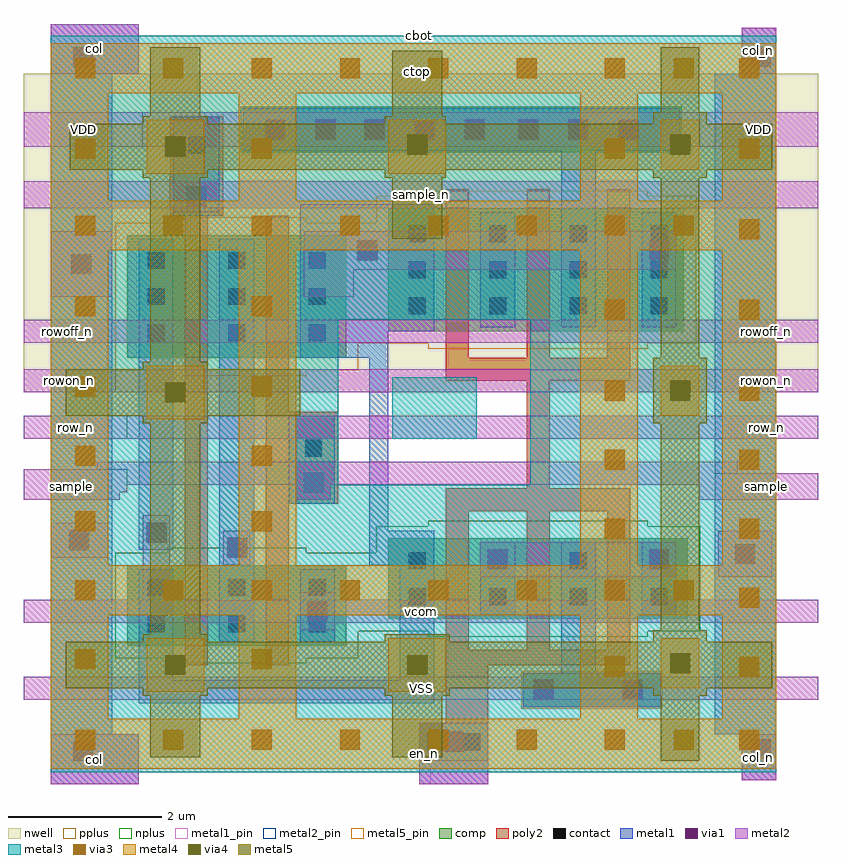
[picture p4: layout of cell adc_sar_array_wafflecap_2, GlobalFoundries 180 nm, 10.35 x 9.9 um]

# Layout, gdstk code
import gdstk
lib = gdstk.Library(unit=1e-6, precision=1e-09)
def R(c, l, rs):  # rectangles x0, y0, x1, y1
    for r in rs: c.add(gdstk.rectangle(r[:2], r[2:], *l))
def A(c, l, x, y, w, h, nx, ny, dx, dy):  # array of equal rectangles
    R(c, l, [(x+i*dx, y+j*dy, x+i*dx+w, y+j*dy+h) for i in range(nx) for j in range(ny)])
nwell = (21, 0)
comp = (22, 0)
poly2 = (30, 0)
pplus = (31, 0)
nplus = (32, 0)
contact = (33, 0)
metal1 = (34, 0)
metal1_pin = (34, 10)
via1 = (35, 0)
metal2 = (36, 0)
metal2_pin = (36, 10)
via3 = (40, 0)
via4 = (41, 0)
metal3 = (42, 0)
metal4 = (46, 0)
metal5 = (81, 0)
metal5_pin = (81, 10)

adc_sar_array_wafflecap_ = lib.new_cell('adc_sar_array_wafflecap_4')
R(adc_sar_array_wafflecap_, nwell, [(-11.85,4.3,-1.5,8.45)])
R(adc_sar_array_wafflecap_, comp, [(-5.35,0.2,-3.55,0.65), (-10.5,1,-7.65,2.05), (-7.1,1.35,-3.2,2.4), (-10.5,4.75,-7.65,6.35), (-7.1,5.1,-3.25,6.7), (-9,7.45,-3.3,8)])
A(adc_sar_array_wafflecap_, poly2, -6.35, 0.95, 0.3, 1.8, 3, 1, 1.05, 0)
A(adc_sar_array_wafflecap_, poly2, -6.35, 4.75, 0.3, 2.2, 3, 1, 1.05, 0)
R(adc_sar_array_wafflecap_, poly2, [(-6.7,-0.5,-5.8,0), (-6.35,0,-5.8,0.75), (-9.75,0.75,-9.45,6.6), (-8.7,0.75,-8.4,2.85), (-6.35,0.75,-3.95,0.95), (-6.35,2.75,-3.95,3.05), (-8.7,2.85,-7.75,4.05), (-5.3,3.05,-5,4.45), (-8.7,4.05,-8.4,6.6), (-6.35,4.45,-3.95,4.75), (-9.95,6.6,-9.25,7.9)])
R(adc_sar_array_wafflecap_, pplus, [(-5.37,0.18,-3.53,0.67), (-9.98,4.52,-8.17,4.59), (-10.66,4.59,-7.49,4.94), (-6.58,4.87,-3.72,4.94), (-10.66,4.94,-3.09,6.51), (-9.98,6.51,-8.17,6.58), (-7.26,6.51,-3.09,6.86), (-6.58,6.86,-3.72,6.93)])
R(adc_sar_array_wafflecap_, nplus, [(-9.98,0.77,-8.17,0.84), (-10.66,0.84,-7.49,1.19), (-6.58,1.12,-3.72,1.19), (-10.66,1.19,-3.04,2.21), (-9.98,2.21,-8.17,2.28), (-7.26,2.21,-3.04,2.56), (-6.58,2.56,-3.72,2.63), (-9.02,7.43,-3.28,8.02)])
A(adc_sar_array_wafflecap_, contact, -10.235, 1.18, 0.22, 0.22, 3, 2, 1.05, 0.47)
A(adc_sar_array_wafflecap_, contact, -6.835, 1.53, 0.22, 0.22, 4, 2, 1.05, 0.47)
A(adc_sar_array_wafflecap_, contact, -10.235, 4.97, 0.22, 0.22, 3, 3, 1.05, 0.47)
A(adc_sar_array_wafflecap_, contact, -6.835, 5.32, 0.22, 0.22, 4, 3, 1.05, 0.47)
A(adc_sar_array_wafflecap_, contact, -8.685, 7.615, 0.22, 0.22, 5, 1, 0.65, 0)
A(adc_sar_array_wafflecap_, contact, -5.385, 7.615, 0.22, 0.22, 3, 1, 0.65, 0)
R(adc_sar_array_wafflecap_, contact, [(-6.595,-0.36,-6.375,-0.14), (-6.125,-0.36,-5.905,-0.14), (-5.185,0.315,-4.965,0.535), (-4.035,0.315,-3.815,0.535), (-8.185,3.465,-7.965,3.685), (-9.71,7.415,-9.49,7.635)])
R(adc_sar_array_wafflecap_, metal1, [(-11.5,-0.8,-10.35,-0.15), (-6.7,-0.8,-5.8,0), (-2.5,-0.75,-2.05,-0.15), (-11.5,-0.15,-10.7,8.45), (-2.85,-0.15,-2.05,8.45), (-5.35,0.2,-3.55,0.65), (-10.35,0.25,-6.5,0.55), (-10.35,0.55,-9.9,2), (-6.95,0.55,-6.5,2.05), (-4.85,0.65,-4.4,2.35), (-9.3,1.05,-8.85,6.3), (-8.25,1.05,-7.8,2), (-5.9,1.4,-5.45,2.35), (-3.8,1.4,-3.35,2.35), (-7.35,2.05,-6.5,2.5), (-10.35,2.25,-9.9,6.3), (-7.35,2.5,-7.1,4.75), (-8.4,2.85,-7.8,4), (-8.25,4.75,-7.1,5.1), (-8.25,5.1,-6.5,6.75), (-5.9,5.15,-5.45,6.65), (-4.85,5.15,-4.4,7.45), (-3.8,5.15,-3.35,6.65), (-9.9,6.6,-9.3,7.9), (-9,7.45,-3.3,8), (-11.5,8.45,-10.35,9.1), (-2.5,8.45,-2.05,9.05)])
R(adc_sar_array_wafflecap_, metal1_pin, [(-6.7,-0.8,-6.55,0), (-2.5,-0.75,-2.05,-0.15), (-2.5,8.45,-2.05,9.05)])
A(adc_sar_array_wafflecap_, via1, -8.705, 7.595, 0.26, 0.26, 5, 1, 0.65, 0)
A(adc_sar_array_wafflecap_, via1, -5.405, 7.595, 0.26, 0.26, 3, 1, 0.65, 0)
R(adc_sar_array_wafflecap_, via1, [(-11.205,-0.505,-10.945,-0.245), (-2.38,-0.48,-2.12,-0.22), (-6.38,-0.38,-6.12,-0.12), (-5.205,0.3,-4.945,0.56), (-4.055,0.3,-3.795,0.56), (-8.155,1.32,-7.895,1.58), (-5.805,1.995,-5.545,2.255), (-3.705,1.995,-3.445,2.255), (-2.58,2.07,-2.32,2.33), (-9.2,2.145,-8.94,2.405), (-11.255,2.245,-10.995,2.505), (-10.25,2.345,-9.99,2.605), (-8.205,2.995,-7.945,3.255), (-11.23,5.845,-10.97,6.105), (-7.505,6.02,-7.245,6.28), (-3.705,6.02,-3.445,6.28), (-9.73,6.72,-9.47,6.98), (-11.205,8.545,-10.945,8.805), (-2.38,8.545,-2.12,8.805)])
R(adc_sar_array_wafflecap_, metal2, [(-11.5,-0.8,-10.35,-0.15), (-6.7,-0.8,-5.8,0), (-2.5,-0.75,-2.05,-0.15), (-5.35,0.2,-3.55,0.3), (-11.85,0.3,-1.5,0.6), (-5.35,0.6,-3.55,0.65), (-8.25,1.2,-7.8,1.3), (-11.85,1.3,-1.5,1.6), (-10.3,1.6,-9.95,2.7), (-8.25,1.6,-7.8,1.7), (-5.9,1.9,-3.35,2.35), (-2.8,1.9,-2.1,2.5), (-9.25,2.05,-8.9,2.5), (-11.5,2.15,-10.75,2.6), (-8.3,2.9,-7.85,3.1), (-2.85,2.95,-1.5,3.1), (-11.85,3,-10.5,3.1), (-11.85,3.1,-1.5,3.25), (-11.85,3.25,-2.55,3.3), (-10.9,3.3,-2.55,3.4), (-11.85,3.7,-1.5,4), (-11.85,4.3,-1.5,4.6), (-11.85,4.95,-1.5,5.25), (-11.5,5.55,-10.7,6.4), (-8.2,5.55,-7.55,5.9), (-8.2,5.9,-3.35,6.4), (-9.9,6.65,-9.3,6.7), (-11.85,6.7,-1.5,7.05), (-11.85,7.5,-1.5,7.95), (-11.5,8.45,-10.35,9.1), (-2.5,8.45,-2.05,9.05)])
R(adc_sar_array_wafflecap_, metal2_pin, [(-11.5,-0.8,-10.35,-0.15), (-11.85,0.3,-1.5,0.6), (-11.85,1.3,-1.5,1.6), (-2.85,2.95,-1.5,3.25), (-11.85,3,-10.5,3.3), (-11.85,3.7,-10.5,4), (-2.85,3.7,-1.5,4), (-11.85,4.3,-10.65,4.6), (-2.85,4.3,-1.5,4.6), (-11.85,4.95,-10.7,5.25), (-2.85,4.95,-1.5,5.25), (-11.85,6.7,-1.5,7.05), (-11.85,7.5,-10.3,7.95), (-3.05,7.5,-1.5,7.95), (-11.5,8.45,-10.35,9.1)])
A(adc_sar_array_wafflecap_, via3, -11.18, -0.355, 0.26, 0.26, 7, 2, 1.15, 1.95)
A(adc_sar_array_wafflecap_, via3, -2.53, 0.595, 0.26, 0.26, 1, 5, 0, 0.9)
A(adc_sar_array_wafflecap_, via3, -4.28, 2.395, 0.26, 0.26, 1, 3, 0, 0.9)
A(adc_sar_array_wafflecap_, via3, -2.53, 5.245, 0.26, 0.26, 1, 4, 0, 1.05)
A(adc_sar_array_wafflecap_, via3, -11.18, 6.345, 0.26, 0.26, 7, 2, 1.15, 2.05)
R(adc_sar_array_wafflecap_, via3, [(-3.38,-0.355,-3.12,-0.095), (-2.53,-0.355,-2.27,-0.095), (-4.28,0.595,-4.02,0.855), (-11.18,0.695,-10.92,0.955), (-8.88,0.695,-8.62,0.955), (-3.38,1.595,-3.12,1.855), (-11.18,2.495,-10.92,2.755), (-8.88,2.495,-8.62,2.755), (-11.18,3.345,-10.92,3.605), (-8.88,3.345,-8.62,3.605), (-11.18,4.245,-10.92,4.505), (-8.88,4.245,-8.62,4.505), (-4.28,5.245,-4.02,5.505), (-11.18,5.295,-10.92,5.555), (-8.88,5.295,-8.62,5.555), (-3.38,6.345,-3.12,6.605), (-11.18,7.345,-10.92,7.605), (-8.88,7.345,-8.62,7.605), (-4.28,7.345,-4.02,7.605), (-3.38,8.395,-3.12,8.655)])
R(adc_sar_array_wafflecap_, via4, [(-10.005,0.62,-9.745,0.88), (-6.855,0.62,-6.595,0.88), (-3.43,0.645,-3.17,0.905), (-10.005,4.17,-9.745,4.43), (-3.43,4.195,-3.17,4.455), (-10.005,7.37,-9.745,7.63), (-6.855,7.395,-6.595,7.655), (-3.43,7.395,-3.17,7.655)])
R(adc_sar_array_wafflecap_, metal3, [(-11.5,-0.65,-2.05,3.1), (-11.5,3.1,-7.75,5.25), (-5.25,3.1,-2.05,5.25), (-7.05,3.7,-5.95,4.5), (-11.5,5.25,-2.05,8.95)])
R(adc_sar_array_wafflecap_, metal4, [(-11.5,-0.6,-2.05,0.05), (-11.5,0.05,-10.75,1.4), (-9.05,0.05,-8.3,1.4), (-4.6,0.05,-3.85,1.4), (-2.75,0.05,-2.05,1.4), (-10.25,0.4,-9.5,1.1), (-7.1,0.4,-6.35,1.1), (-3.55,0.45,-3.05,1.1), (-11.5,1.4,-2.05,2.05), (-11.5,2.05,-10.75,6.15), (-9.05,2.05,-8.3,6.15), (-4.6,2.05,-3.85,6.15), (-2.75,2.05,-2.05,6.15), (-10.25,3.95,-9.5,4.65), (-3.55,4,-3.05,4.65), (-11.5,6.15,-2.05,6.8), (-11.5,6.8,-10.75,8.2), (-9.05,6.8,-8.3,8.2), (-4.6,6.8,-3.85,8.2), (-2.75,6.8,-2.05,8.2), (-10.25,7.15,-9.5,7.85), (-7.1,7.15,-6.35,7.85), (-3.55,7.2,-3.05,7.85), (-11.5,8.2,-2.05,8.85)])
R(adc_sar_array_wafflecap_, metal5, [(-3.55,-0.5,-3.05,0.35), (-10.2,-0.45,-9.55,0.35), (-7.05,-0.45,-6.4,0.35), (-10.3,0.35,-9.45,0.45), (-7.15,0.35,-6.3,0.45), (-3.65,0.35,-2.95,0.45), (-11.3,0.45,-2.1,1.05), (-10.3,1.05,-9.45,1.15), (-7.15,1.05,-6.3,1.15), (-3.65,1.05,-2.95,1.2), (-10.2,1.15,-9.55,3.9), (-3.55,1.2,-3.05,3.9), (-10.3,3.9,-9.45,4), (-3.65,3.9,-2.95,4.75), (-11.3,4,-8.25,4.6), (-10.3,4.6,-9.45,4.7), (-10.2,4.7,-9.55,7.1), (-3.55,4.75,-3.05,7.1), (-7.05,6.3,-6.4,7.1), (-10.3,7.1,-9.45,7.2), (-7.15,7.1,-6.35,7.2), (-3.65,7.1,-2.95,7.2), (-11.25,7.2,-2.1,7.8), (-10.3,7.8,-9.45,7.9), (-7.15,7.8,-6.35,7.9), (-3.65,7.8,-2.95,7.95), (-10.2,7.9,-9.55,8.8), (-7.05,7.9,-6.4,8.75), (-3.55,7.95,-3.05,8.8)])
R(adc_sar_array_wafflecap_, metal5_pin, [(-7.05,8.2,-6.4,8.75)])
adc_sar_array_wafflecap_.add(gdstk.Label('VDD', (-11.075,7.725), layer=36, texttype=10))
adc_sar_array_wafflecap_.add(gdstk.Label('VDD', (-2.275,7.725), layer=36, texttype=10))
adc_sar_array_wafflecap_.add(gdstk.Label('VSS', (-6.675,0.45), layer=36, texttype=10))
adc_sar_array_wafflecap_.add(gdstk.Label('sample_n', (-6.675,6.875), layer=36, texttype=10))
adc_sar_array_wafflecap_.add(gdstk.Label('rowoff_n', (-11.275,5.1), layer=36, texttype=10))
adc_sar_array_wafflecap_.add(gdstk.Label('rowoff_n', (-2.175,5.1), layer=36, texttype=10))
adc_sar_array_wafflecap_.add(gdstk.Label('rowon_n', (-11.25,4.45), layer=36, texttype=10))
adc_sar_array_wafflecap_.add(gdstk.Label('rowon_n', (-2.175,4.45), layer=36, texttype=10))
adc_sar_array_wafflecap_.add(gdstk.Label('row_n', (-11.175,3.85), layer=36, texttype=10))
adc_sar_array_wafflecap_.add(gdstk.Label('row_n', (-2.175,3.85), layer=36, texttype=10))
adc_sar_array_wafflecap_.add(gdstk.Label('vcom', (-6.675,1.45), layer=36, texttype=10))
adc_sar_array_wafflecap_.add(gdstk.Label('en_n', (-6.625,-0.4), layer=34, texttype=10))
adc_sar_array_wafflecap_.add(gdstk.Label('col_n', (-2.275,-0.45), layer=34, texttype=10))
adc_sar_array_wafflecap_.add(gdstk.Label('col_n', (-2.275,8.75), layer=34, texttype=10))
adc_sar_array_wafflecap_.add(gdstk.Label('col', (-10.925,8.775), layer=36, texttype=10))
adc_sar_array_wafflecap_.add(gdstk.Label('col', (-10.925,-0.475), layer=36, texttype=10))
adc_sar_array_wafflecap_.add(gdstk.Label('sample', (-2.175,3.1), layer=36, texttype=10))
adc_sar_array_wafflecap_.add(gdstk.Label('sample', (-11.175,3.15), layer=36, texttype=10))
adc_sar_array_wafflecap_.add(gdstk.Label('ctop', (-6.725,8.475), layer=81, texttype=10))
adc_sar_array_wafflecap_.add(gdstk.Label('cbot', (-6.7,8.95), layer=42, texttype=10))

c_adc_sar_array_wafflecap_ = lib.new_cell('adc_sar_array_wafflecap_2')
R(c_adc_sar_array_wafflecap_, nwell, [(15,5.1,25.35,9.25)])
R(c_adc_sar_array_wafflecap_, comp, [(21.5,1,23.3,1.45), (16.35,1.8,19.2,2.85), (19.75,2.15,23.65,3.2), (16.35,5.55,19.2,7.15), (19.75,5.9,23.6,7.5), (17.85,8.25,23.55,8.8)])
A(c_adc_sar_array_wafflecap_, poly2, 20.5, 1.75, 0.3, 1.8, 3, 1, 1.05, 0)
A(c_adc_sar_array_wafflecap_, poly2, 20.5, 5.55, 0.3, 2.2, 3, 1, 1.05, 0)
R(c_adc_sar_array_wafflecap_, poly2, [(20.15,0.3,21.05,0.8), (20.5,0.8,21.05,1.55), (17.1,1.55,17.4,7.4), (18.15,1.55,18.45,3.65), (20.5,1.55,22.9,1.75), (20.5,3.55,22.9,3.85), (18.15,3.65,19.1,4.85), (21.55,3.85,21.85,5.25), (18.15,4.85,18.45,7.4), (20.5,5.25,22.9,5.55), (16.9,7.4,17.6,8.7)])
R(c_adc_sar_array_wafflecap_, pplus, [(21.48,0.98,23.32,1.47), (16.87,5.32,18.68,5.39), (16.19,5.39,19.36,5.74), (20.27,5.67,23.13,5.74), (16.19,5.74,23.76,7.31), (16.87,7.31,18.68,7.38), (19.59,7.31,23.76,7.66), (20.27,7.66,23.13,7.73)])
R(c_adc_sar_array_wafflecap_, nplus, [(16.87,1.57,18.68,1.64), (16.19,1.64,19.36,1.99), (20.27,1.92,23.13,1.99), (16.19,1.99,23.81,3.01), (16.87,3.01,18.68,3.08), (19.59,3.01,23.81,3.36), (20.27,3.36,23.13,3.43), (17.83,8.23,23.57,8.82)])
A(c_adc_sar_array_wafflecap_, contact, 16.615, 1.98, 0.22, 0.22, 3, 2, 1.05, 0.47)
A(c_adc_sar_array_wafflecap_, contact, 20.015, 2.33, 0.22, 0.22, 4, 2, 1.05, 0.47)
A(c_adc_sar_array_wafflecap_, contact, 16.615, 5.77, 0.22, 0.22, 3, 3, 1.05, 0.47)
A(c_adc_sar_array_wafflecap_, contact, 20.015, 6.12, 0.22, 0.22, 4, 3, 1.05, 0.47)
A(c_adc_sar_array_wafflecap_, contact, 18.165, 8.415, 0.22, 0.22, 5, 1, 0.65, 0)
A(c_adc_sar_array_wafflecap_, contact, 21.465, 8.415, 0.22, 0.22, 3, 1, 0.65, 0)
R(c_adc_sar_array_wafflecap_, contact, [(20.255,0.44,20.475,0.66), (20.725,0.44,20.945,0.66), (21.665,1.115,21.885,1.335), (22.815,1.115,23.035,1.335), (18.665,4.265,18.885,4.485), (17.14,8.215,17.36,8.435)])
R(c_adc_sar_array_wafflecap_, metal1, [(15.35,0,16.5,0.65), (20.15,0,21.05,0.8), (24.35,0.05,24.8,0.65), (15.35,0.65,16.15,9.25), (24,0.65,24.8,9.25), (21.5,1,23.3,1.45), (16.5,1.05,20.35,1.35), (16.5,1.35,16.95,2.8), (19.9,1.35,20.35,2.85), (22,1.45,22.45,3.15), (17.55,1.85,18,7.1), (18.6,1.85,19.05,2.8), (20.95,2.2,21.4,3.15), (23.05,2.2,23.5,3.15), (19.5,2.85,20.35,3.3), (16.5,3.05,16.95,7.1), (19.5,3.3,19.75,5.55), (18.45,3.65,19.05,4.8), (18.6,5.55,19.75,5.9), (18.6,5.9,20.35,7.55), (20.95,5.95,21.4,7.45), (22,5.95,22.45,8.25), (23.05,5.95,23.5,7.45), (16.95,7.4,17.55,8.7), (17.85,8.25,23.55,8.8), (15.35,9.25,16.5,9.9), (24.35,9.25,24.8,9.85)])
R(c_adc_sar_array_wafflecap_, metal1_pin, [(20.15,0,20.3,0.8), (24.35,0.05,24.8,0.65), (24.35,9.25,24.8,9.85)])
A(c_adc_sar_array_wafflecap_, via1, 18.145, 8.395, 0.26, 0.26, 5, 1, 0.65, 0)
A(c_adc_sar_array_wafflecap_, via1, 21.445, 8.395, 0.26, 0.26, 3, 1, 0.65, 0)
R(c_adc_sar_array_wafflecap_, via1, [(15.645,0.295,15.905,0.555), (24.47,0.32,24.73,0.58), (20.47,0.42,20.73,0.68), (21.645,1.1,21.905,1.36), (22.795,1.1,23.055,1.36), (18.695,2.12,18.955,2.38), (21.045,2.795,21.305,3.055), (23.145,2.795,23.405,3.055), (24.27,2.87,24.53,3.13), (17.65,2.945,17.91,3.205), (15.595,3.045,15.855,3.305), (16.6,3.145,16.86,3.405), (18.645,3.795,18.905,4.055), (15.62,6.645,15.88,6.905), (19.345,6.82,19.605,7.08), (23.145,6.82,23.405,7.08), (17.12,7.52,17.38,7.78), (15.645,9.345,15.905,9.605), (24.47,9.345,24.73,9.605)])
R(c_adc_sar_array_wafflecap_, metal2, [(15.35,0,16.5,0.65), (20.15,0,21.05,0.8), (24.35,0.05,24.8,0.65), (21.5,1,23.3,1.1), (15,1.1,25.35,1.4), (21.5,1.4,23.3,1.45), (18.6,2,19.05,2.1), (15,2.1,25.35,2.4), (16.55,2.4,16.9,3.5), (18.6,2.4,19.05,2.5), (20.95,2.7,23.5,3.15), (24.05,2.7,24.75,3.3), (17.6,2.85,17.95,3.3), (15.35,2.95,16.1,3.4), (15,3.7,16.25,3.9), (18.55,3.7,19,3.9), (23.8,3.7,25.35,3.9), (15,3.9,25.35,4.05), (16.15,4.05,24,4.2), (15,4.5,25.35,4.8), (15,5.1,25.35,5.4), (15,5.75,25.35,6.05), (15.35,6.35,16.15,7.2), (18.65,6.35,19.3,6.7), (18.65,6.7,23.5,7.2), (16.95,7.45,17.55,7.5), (15,7.5,25.35,7.85), (15,8.3,25.35,8.75), (15.35,9.25,16.5,9.9), (24.35,9.25,24.8,9.85)])
R(c_adc_sar_array_wafflecap_, metal2_pin, [(15.35,0,16.5,0.65), (15,1.1,25.35,1.4), (15,2.1,25.35,2.4), (15,3.7,16.25,4.05), (24,3.7,25.35,4.05), (15,4.5,16.35,4.8), (24,4.5,25.35,4.8), (15,5.1,16.2,5.4), (24,5.1,25.35,5.4), (15,5.75,16.15,6.05), (24,5.75,25.35,6.05), (15,7.5,25.35,7.85), (15,8.3,16.55,8.75), (23.8,8.3,25.35,8.75), (15.35,9.25,16.5,9.9)])
A(c_adc_sar_array_wafflecap_, via3, 15.67, 0.445, 0.26, 0.26, 7, 2, 1.15, 1.95)
A(c_adc_sar_array_wafflecap_, via3, 24.32, 1.395, 0.26, 0.26, 1, 5, 0, 0.9)
A(c_adc_sar_array_wafflecap_, via3, 22.57, 3.195, 0.26, 0.26, 1, 3, 0, 0.9)
A(c_adc_sar_array_wafflecap_, via3, 24.32, 6.045, 0.26, 0.26, 1, 4, 0, 1.05)
A(c_adc_sar_array_wafflecap_, via3, 15.67, 7.145, 0.26, 0.26, 7, 2, 1.15, 2.05)
R(c_adc_sar_array_wafflecap_, via3, [(23.47,0.445,23.73,0.705), (24.32,0.445,24.58,0.705), (22.57,1.395,22.83,1.655), (15.67,1.495,15.93,1.755), (17.97,1.495,18.23,1.755), (23.47,2.395,23.73,2.655), (15.67,3.295,15.93,3.555), (17.97,3.295,18.23,3.555), (15.67,4.145,15.93,4.405), (17.97,4.145,18.23,4.405), (15.67,5.045,15.93,5.305), (17.97,5.045,18.23,5.305), (22.57,6.045,22.83,6.305), (15.67,6.095,15.93,6.355), (17.97,6.095,18.23,6.355), (23.47,7.145,23.73,7.405), (15.67,8.145,15.93,8.405), (17.97,8.145,18.23,8.405), (22.57,8.145,22.83,8.405), (23.47,9.195,23.73,9.455)])
R(c_adc_sar_array_wafflecap_, via4, [(16.845,1.42,17.105,1.68), (19.995,1.42,20.255,1.68), (23.42,1.445,23.68,1.705), (16.845,4.97,17.105,5.23), (23.42,4.995,23.68,5.255), (16.845,8.17,17.105,8.43), (19.995,8.195,20.255,8.455), (23.42,8.195,23.68,8.455)])
R(c_adc_sar_array_wafflecap_, metal3, [(15.35,0.15,24.8,3.9), (15.35,3.9,19.1,6.05), (21.6,3.9,24.8,6.05), (19.8,4.5,20.9,5.3), (15.35,6.05,24.8,9.75)])
R(c_adc_sar_array_wafflecap_, metal4, [(15.35,0.2,24.8,0.85), (15.35,0.85,16.1,2.2), (17.8,0.85,18.55,2.2), (22.25,0.85,23,2.2), (24.1,0.85,24.8,2.2), (16.6,1.2,17.35,1.9), (19.75,1.2,20.5,1.9), (23.3,1.25,23.8,1.9), (15.35,2.2,24.8,2.85), (15.35,2.85,16.1,6.95), (17.8,2.85,18.55,6.95), (22.25,2.85,23,6.95), (24.1,2.85,24.8,6.95), (16.6,4.75,17.35,5.45), (23.3,4.8,23.8,5.45), (15.35,6.95,24.8,7.6), (15.35,7.6,16.1,9), (17.8,7.6,18.55,9), (22.25,7.6,23,9), (24.1,7.6,24.8,9), (16.6,7.95,17.35,8.65), (19.75,7.95,20.5,8.65), (23.3,8,23.8,8.65), (15.35,9,24.8,9.65)])
R(c_adc_sar_array_wafflecap_, metal5, [(23.3,0.3,23.8,1.15), (16.65,0.35,17.3,1.15), (19.8,0.35,20.45,1.15), (16.55,1.15,17.4,1.25), (19.7,1.15,20.55,1.25), (23.2,1.15,23.9,1.25), (15.55,1.25,24.75,1.85), (16.55,1.85,17.4,1.95), (19.7,1.85,20.55,1.95), (23.2,1.85,23.9,2), (16.65,1.95,17.3,4.7), (23.3,2,23.8,4.7), (16.55,4.7,17.4,4.8), (23.2,4.7,23.9,5.55), (15.55,4.8,18.6,5.4), (16.55,5.4,17.4,5.5), (16.65,5.5,17.3,7.9), (23.3,5.55,23.8,5.8), (19.8,7.1,20.45,7.9), (23.3,7.1,23.8,7.9), (16.55,7.9,17.4,8), (19.7,7.9,20.5,8), (23.2,7.9,23.9,8), (15.6,8,17.6,8.6), (18.55,8,24.75,8.6), (16.55,8.6,17.4,8.7), (19.7,8.6,20.5,8.7), (23.2,8.6,23.9,8.75), (16.65,8.7,17.3,9.6), (19.8,8.7,20.45,9.55), (23.3,8.75,23.8,9.6)])
R(c_adc_sar_array_wafflecap_, metal5_pin, [(19.8,9,20.45,9.55)])
c_adc_sar_array_wafflecap_.add(gdstk.Reference(adc_sar_array_wafflecap_, (26.85,0.8)))
c_adc_sar_array_wafflecap_.add(gdstk.Label('VDD', (15.775,8.525), layer=36, texttype=10))
c_adc_sar_array_wafflecap_.add(gdstk.Label('VDD', (24.575,8.525), layer=36, texttype=10))
c_adc_sar_array_wafflecap_.add(gdstk.Label('VSS', (20.175,1.25), layer=36, texttype=10))
c_adc_sar_array_wafflecap_.add(gdstk.Label('sample_n', (20.175,7.675), layer=36, texttype=10))
c_adc_sar_array_wafflecap_.add(gdstk.Label('rowoff_n', (15.575,5.9), layer=36, texttype=10))
c_adc_sar_array_wafflecap_.add(gdstk.Label('rowoff_n', (24.675,5.9), layer=36, texttype=10))
c_adc_sar_array_wafflecap_.add(gdstk.Label('rowon_n', (15.6,5.25), layer=36, texttype=10))
c_adc_sar_array_wafflecap_.add(gdstk.Label('rowon_n', (24.675,5.25), layer=36, texttype=10))
c_adc_sar_array_wafflecap_.add(gdstk.Label('row_n', (15.675,4.65), layer=36, texttype=10))
c_adc_sar_array_wafflecap_.add(gdstk.Label('row_n', (24.675,4.65), layer=36, texttype=10))
c_adc_sar_array_wafflecap_.add(gdstk.Label('vcom', (20.175,2.25), layer=36, texttype=10))
c_adc_sar_array_wafflecap_.add(gdstk.Label('en_n', (20.225,0.4), layer=34, texttype=10))
c_adc_sar_array_wafflecap_.add(gdstk.Label('col_n', (24.575,0.35), layer=34, texttype=10))
c_adc_sar_array_wafflecap_.add(gdstk.Label('col_n', (24.575,9.55), layer=34, texttype=10))
c_adc_sar_array_wafflecap_.add(gdstk.Label('col', (15.925,9.575), layer=36, texttype=10))
c_adc_sar_array_wafflecap_.add(gdstk.Label('col', (15.925,0.325), layer=36, texttype=10))
c_adc_sar_array_wafflecap_.add(gdstk.Label('sample', (15.625,3.875), layer=36, texttype=10))
c_adc_sar_array_wafflecap_.add(gdstk.Label('sample', (24.675,3.875), layer=36, texttype=10))
c_adc_sar_array_wafflecap_.add(gdstk.Label('ctop', (20.125,9.275), layer=81, texttype=10))
c_adc_sar_array_wafflecap_.add(gdstk.Label('cbot', (20.15,9.75), layer=42, texttype=10))

lib.write_gds('adc_sar_array_wafflecap_2.gds')
